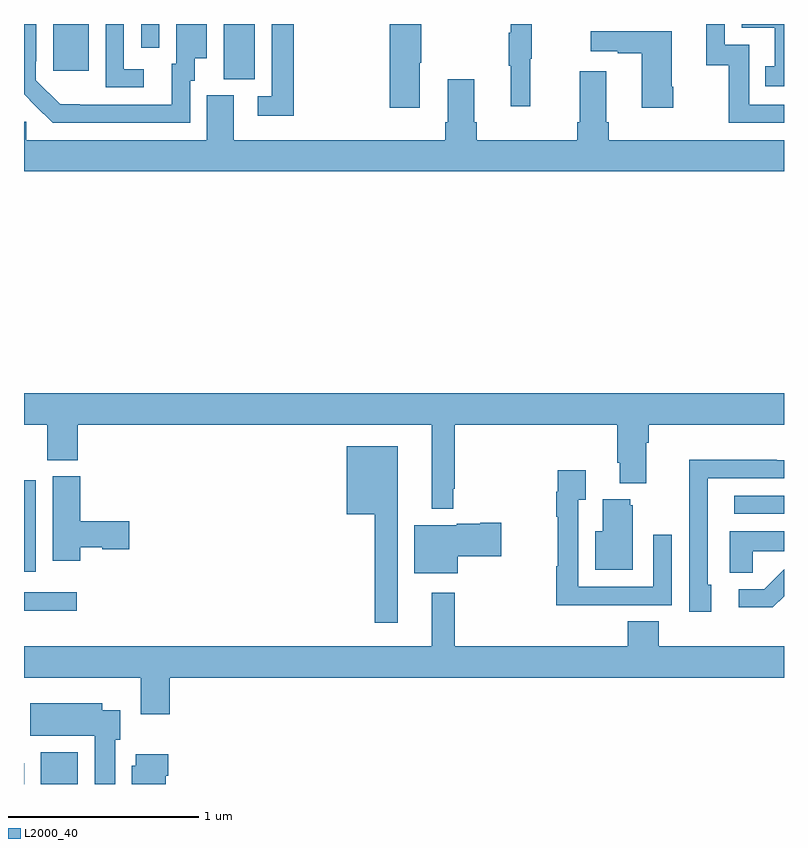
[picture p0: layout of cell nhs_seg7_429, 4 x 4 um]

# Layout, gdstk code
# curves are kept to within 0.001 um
import gdstk
lib = gdstk.Library(unit=1e-6, precision=1e-09)
def R(c, l, rs):  # rectangles x0, y0, x1, y1
    for r in rs: c.add(gdstk.rectangle(r[:2], r[2:], *l))
def P(c, l, *ps):  # polygons
    for p in ps: c.add(gdstk.Polygon(p, *l))
L2000_40 = (2000, 40)

nhs_seg7_429 = lib.new_cell('nhs_seg7_429')
R(nhs_seg7_429, L2000_40, [(143,1056,143.002,1056.108), (143.087,1056,143.283,1056.166), (143,1056.912,143.278,1057.008), (143,1057.118,143.062,1057.6), (146.739,1057.422,147,1057.518), (144.05,1059.709,144.214,1060), (143.153,1059.753,143.341,1060), (143.616,1059.876,143.712,1060)])
P(nhs_seg7_429, L2000_40, [(143.629,1059.762),(143.526,1059.762),(143.526,1060),(143.43,1060),(143.43,1059.666),(143.629,1059.666)],
  [(147,1059.576),(146.817,1059.576),(146.817,1059.891),(146.688,1059.891),(146.688,1060),(146.591,1060),(146.591,1059.783),(146.709,1059.783),(146.709,1059.48),(147,1059.48)],
  [(145.084,1059.796),(145.092,1059.796),(145.092,1060),(144.926,1060),(144.926,1059.558),(145.084,1059.558)],
  [(147,1060),(146.778,1060),(146.778,1059.981),(146.951,1059.981),(146.951,1059.777),(146.902,1059.777),(146.902,1059.672),(147,1059.672)],
  [(145.664,1059.816),(145.672,1059.816),(145.672,1060),(145.562,1060),(145.562,1059.953),(145.551,1059.953),(145.551,1059.779),(145.562,1059.779),(145.562,1059.567),(145.664,1059.567)],
  [(144.419,1060),(144.303,1060),(144.303,1059.621),(144.231,1059.621),(144.231,1059.516),(144.419,1059.516)],
  [(143.874,1059.702),(143.899,1059.702),(143.899,1059.821),(143.962,1059.821),(143.962,1060),(143.801,1060),(143.801,1059.792),(143.777,1059.792),(143.777,1059.576),(143.19,1059.577),(143.061,1059.705),(143.061,1059.805),(143.064,1059.805),(143.064,1060),(143,1060),(143,1059.629),(143.15,1059.48),(143.874,1059.48)],
  [(146.418,1059.67),(146.41,1059.67),(146.41,1059.961),(145.983,1059.961),(145.983,1059.857),(146.126,1059.857),(146.126,1059.847),(146.252,1059.847),(146.252,1059.558),(146.418,1059.558)],
  [(147,1059.388),(146.078,1059.388),(146.078,1059.484),(146.065,1059.484),(146.065,1059.751),(145.925,1059.751),(145.925,1059.484),(145.913,1059.484),(145.913,1059.388),(145.382,1059.388),(145.382,1059.484),(145.369,1059.484),(145.369,1059.709),(145.229,1059.709),(145.229,1059.484),(145.217,1059.484),(145.217,1059.388),(144.103,1059.388),(144.103,1059.624),(143.963,1059.624),(143.963,1059.388),(143.013,1059.388),(143.013,1059.486),(143,1059.486),(143,1059.224),(147,1059.224)],
  [(145.259,1057.555),(145.267,1057.555),(145.267,1057.892),(146.123,1057.892),(146.123,1057.69),(146.135,1057.69),(146.135,1057.583),(146.275,1057.583),(146.275,1057.796),(146.288,1057.796),(146.288,1057.892),(147,1057.892),(147,1058.056),(143,1058.056),(143,1057.892),(143.122,1057.892),(143.122,1057.705),(143.282,1057.705),(143.282,1057.892),(145.145,1057.892),(145.145,1057.448),(145.259,1057.448)],
  [(144.967,1057.777),(144.698,1057.777),(144.698,1057.421),(144.846,1057.421),(144.846,1056.849),(144.967,1056.849)],
  [(146.617,1057.05),(146.598,1057.05),(146.598,1057.608),(147,1057.608),(147,1057.704),(146.963,1057.704),(146.963,1057.706),(146.5,1057.706),(146.5,1057.399),(146.502,1057.399),(146.502,1056.906),(146.617,1056.906)],
  [(146.093,1056.942),(146.409,1056.942),(146.409,1057.312),(146.313,1057.312),(146.313,1057.038),(145.917,1057.038),(145.917,1057.495),(145.957,1057.495),(145.957,1057.651),(145.809,1057.651),(145.809,1057.538),(145.801,1057.538),(145.801,1057.406),(145.809,1057.406),(145.809,1057.145),(145.801,1057.145),(145.801,1056.941),(146.093,1056.941)],
  [(143.297,1057.247),(143.411,1057.247),(143.411,1057.235),(143.554,1057.235),(143.554,1057.382),(143.297,1057.382),(143.297,1057.62),(143.15,1057.62),(143.15,1057.176),(143.297,1057.176)],
  [(146.203,1057.467),(146.192,1057.467),(146.192,1057.498),(146.045,1057.498),(146.045,1057.33),(146.006,1057.33),(146.006,1057.127),(146.203,1057.127)],
  [(145.282,1057.198),(145.513,1057.198),(145.513,1057.376),(145.4,1057.376),(145.4,1057.369),(145.278,1057.369),(145.278,1057.363),(145.055,1057.363),(145.055,1057.109),(145.282,1057.109)],
  [(146.835,1057.226),(147,1057.226),(147,1057.33),(146.714,1057.33),(146.714,1057.111),(146.835,1057.111)],
  [(147,1056.987),(147,1057.129),(146.897,1057.026),(146.763,1057.026),(146.763,1056.929),(146.941,1056.929)],
  [(143.768,1056.56),(147,1056.56),(147,1056.724),(146.342,1056.724),(146.342,1056.857),(146.177,1056.857),(146.177,1056.724),(145.267,1056.724),(145.267,1057.006),(145.145,1057.006),(145.145,1056.724),(143,1056.724),(143,1056.56),(143.615,1056.56),(143.615,1056.366),(143.768,1056.366)],
  [(143.479,1056.234),(143.506,1056.234),(143.506,1056.388),(143.413,1056.388),(143.413,1056.424),(143.033,1056.424),(143.033,1056.254),(143.372,1056.254),(143.372,1056),(143.479,1056)],
  [(143.746,1056.044),(143.759,1056.044),(143.759,1056.157),(143.588,1056.157),(143.588,1056.096),(143.567,1056.096),(143.567,1056),(143.746,1056)])

lib.write_gds('nhs_seg7_429.gds')
